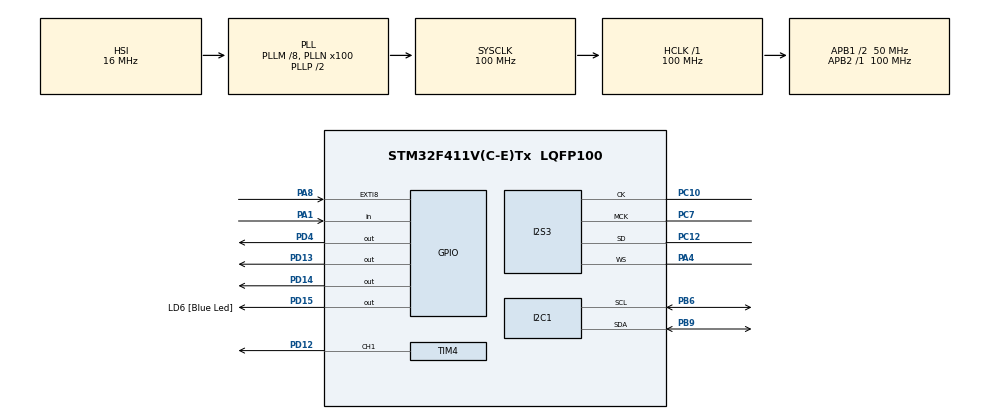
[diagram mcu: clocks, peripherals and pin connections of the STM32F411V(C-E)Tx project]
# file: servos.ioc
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I2S3.AudioFreq=I2S_AUDIOFREQ_44K
I2S3.ErrorAudioFreq=-4.88 %
I2S3.FullDuplexMode=I2S_FULLDUPLEXMODE_DISABLE
I2S3.Instance=SPI$Index
I2S3.RealAudioFreq=41.852 KHz
I2S3.Standard=I2S_STANDARD_MSB
I2S3.VirtualMode=I2S_MODE_MASTER
Mcu.Family=STM32F4
Mcu.Name=STM32F411V(C-E)Tx
Mcu.Package=LQFP100
NVIC.EXTI9_5_IRQn=true\:0\:0\:false\:false\:true\:true\:true\:true
NVIC.PriorityGroup=NVIC_PRIORITYGROUP_1
NVIC.TIM2_IRQn=true\:0\:0\:true\:false\:true\:true\:true\:true
NVIC.TIM3_IRQn=true\:0\:0\:false\:false\:true\:true\:true\:true
PA1.Signal=GPIO_Input
PA4.Mode=Half_Duplex_Master
PA4.Signal=I2S3_WS
PA8.GPIO_PuPd=GPIO_PULLDOWN
PA8.Signal=GPXTI8
PB6.Mode=I2C
PB6.Signal=I2C1_SCL
PB9.Mode=I2C
PB9.Signal=I2C1_SDA
PC10.Mode=Half_Duplex_Master
PC10.Signal=I2S3_CK
PC12.Mode=Half_Duplex_Master
PC12.Signal=I2S3_SD
PC14-OSC32_IN.GPIO_Label=PC14-OSC32_IN
PC14-OSC32_IN.Signal=RCC_OSC32_IN
PC15-OSC32_OUT.GPIO_Label=PC15-OSC32_OUT
PC15-OSC32_OUT.Signal=RCC_OSC32_OUT
PC7.Mode=Master_Clock_Activated
PC7.Signal=I2S3_MCK
PD12.Signal=S_TIM4_CH1
PD13.Signal=GPIO_Output
PD14.Signal=GPIO_Output
PD15.GPIO_Label=LD6 [Blue Led]
PD15.GPIO_PuPd=GPIO_NOPULL
PD15.GPIO_Speed=GPIO_SPEED_FREQ_LOW
PD15.Signal=GPIO_Output
PD4.Signal=GPIO_Output
PH0\ -\ OSC_IN.GPIO_Label=PH0-OSC_IN
PH0\ -\ OSC_IN.Mode=HSE-External-Oscillator
PH0\ -\ OSC_IN.Signal=RCC_OSC_IN
PH1\ -\ OSC_OUT.GPIO_Label=PH1-OSC_OUT
PH1\ -\ OSC_OUT.Mode=HSE-External-Oscillator
PH1\ -\ OSC_OUT.Signal=RCC_OSC_OUT
ProjectManager.HeapSize=0x200
ProjectManager.StackSize=0x400
ProjectManager.TargetToolchain=STM32CubeIDE
RCC.48MHZClocksFreq_Value=25000000
RCC.AHBFreq_Value=100000000
RCC.APB1CLKDivider=RCC_HCLK_DIV2
RCC.APB1Freq_Value=50000000
RCC.APB1TimFreq_Value=100000000
RCC.APB2Freq_Value=100000000
RCC.APB2TimFreq_Value=100000000
RCC.CortexFreq_Value=100000000
RCC.HCLKFreq_Value=100000000
RCC.HSE_VALUE=8000000
RCC.HSI_VALUE=16000000
RCC.LSE_VALUE=32768
RCC.PLLI2SM=8
RCC.PLLI2SN=75
RCC.PLLM=8
RCC.PLLN=100
RCC.PLLQ=8
RCC.SYSCLKFreq_VALUE=100000000
RCC.SYSCLKSource=RCC_SYSCLKSOURCE_PLLCLK
RCC.VCOOutputFreq_Value=200000000
SH.S_TIM4_CH1.0=TIM4_CH1,PWM Generation1 CH1
TIM2.Period=30000
TIM2.Prescaler=50000
TIM3.Period=2000
TIM3.Prescaler=32000
TIM4.Channel-PWM\ Generation1\ CH1=TIM_CHANNEL_1
TIM4.Period=2000
TIM4.Prescaler=160
VP_TIM2_VS_ClockSourceINT.Mode=Internal
VP_TIM3_VS_ClockSourceINT.Mode=Internal
VP_TIM4_VS_ClockSourceINT.Mode=Internal
board=STM32F411E-DISCO

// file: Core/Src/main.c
/* USER CODE BEGIN Header */
/**
  ******************************************************************************
  * @file           : main.c
  * @brief          : Main program body
  ******************************************************************************
  * @attention
  *
  * Copyright (c) 2022 STMicroelectronics.
  * All rights reserved.
  *
  * This software is licensed under terms that can be found in the LICENSE file
  * in the root directory of this software component.
  * If no LICENSE file comes with this software, it is provided AS-IS.
  *
  ******************************************************************************
  */
/* USER CODE END Header */
#include "main.h"

I2C_HandleTypeDef hi2c1;

I2S_HandleTypeDef hi2s3;

TIM_HandleTypeDef htim2;
TIM_HandleTypeDef htim3;  //Manejadores de temporizadores
TIM_HandleTypeDef htim4;

void SystemClock_Config(void);
static void MX_GPIO_Init(void);
static void MX_TIM2_Init(void);
static void MX_TIM4_Init(void); //Funciones para inicializar los temporizadores y el I2C
static void MX_TIM3_Init(void);
static void MX_I2C1_Init(void);
static void MX_I2S3_Init(void);

/* USER CODE BEGIN 0 */
int i;
uint8_t b = 0;                   //se inicailizan variables
volatile int16_t señal=0;
volatile int16_t señal2=0;

void HAL_GPIO_EXTI_Callback(uint16_t GPIO_Pin){ //detectamos presencia
	if (GPIO_Pin==GPIO_PIN_8)
	{
		señal=0;
		 HAL_GPIO_WritePin(GPIOD,GPIO_PIN_14,0);
		HAL_GPIO_WritePin(GPIOD,GPIO_PIN_15,1);
		__HAL_TIM_CLEAR_IT(&htim2, TIM_IT_UPDATE); //dio fallos la interrucpcion del TEMP2 por lo que se limpia
		 HAL_TIM_Base_Start_IT(&htim2);// se inicializa la interrupcion del TEMP2
	}

}

void HAL_TIM_PeriodElapsedCallback(TIM_HandleTypeDef *htim)//acaba el temporizador
{
  /* Prevent unused argument(s) compilation warning */
  //UNUSED(htim);
  /* NOTE : This function Should not be modified, when the callback is needed,
            the __HAL_TIM_PeriodElapsedCallback could be implemented in the user file
   */
  if(htim->Instance==TIM2)//Interrupcion del temporizador 2
  {
	  HAL_GPIO_WritePin(GPIOD,GPIO_PIN_14,1);
	 	HAL_GPIO_WritePin(GPIOD,GPIO_PIN_15,0);
	 	HAL_TIM_Base_Stop_IT(&htim2);
	 	 HAL_TIM_Base_Start_IT(&htim3);// se inicializa la interrupcion del TEMP3
	 	señal=1;
	 	HAL_TIM_Base_Stop(&htim2);// se detiene la interrupcion del TEMP2

  }
  if(htim->Instance==TIM3)//Interrupcion del temporizador 3
    {
	  HAL_GPIO_WritePin(GPIOD,GPIO_PIN_15,1);
  	 	HAL_TIM_Base_Stop_IT(&htim3);// se detiene la interrupcion del TEMP3
  	 	señal=0;

    }
}
/* USER CODE END 0 */

int main(void)
{
  /* USER CODE BEGIN 1 */
	uint8_t setup[2];
	uint8_t pitido[2];//los cuatro primeros son la frecuencia y los cuatro siguentes es el tiempo de duración
	uint16_t out[1];

  /* USER CODE END 1 */

  /* MCU Configuration--------------------------------------------------------*/

  /* Reset of all peripherals, Initializes the Flash interface and the Systick. */
  HAL_Init();

  /* Configure the system clock */
  SystemClock_Config();

  /* Initialize all configured peripherals */
  MX_GPIO_Init();
  MX_TIM2_Init();
  MX_TIM4_Init();
  MX_TIM3_Init();   //Se inicializan los temporizadores y el I2C
  MX_I2C1_Init();
  MX_I2S3_Init();
  /* USER CODE BEGIN 2 */

  HAL_GPIO_WritePin(GPIOD, GPIO_PIN_4, GPIO_PIN_RESET);
    HAL_GPIO_WritePin(GPIOD, GPIO_PIN_4, GPIO_PIN_SET);

    //Write 0x99 to register 0x00.
    setup[0]=0x00;
    setup[1]=0x99;
    HAL_I2C_Master_Transmit(&hi2c1,0x94,setup,2,100);
    //Write 0x80 to register 0x47.
    setup[0] = 0x47;
    setup[1] = 0x80;
    HAL_I2C_Master_Transmit(&hi2c1, 0x94, setup, 2, 100);
    //Write ‘1’b to bit 7 in register 0x32.
    setup[0] = 0x32;
    setup[1] = 0x80;
    HAL_I2C_Master_Transmit(&hi2c1, 0x94, setup, 2, 100);
    //Write ‘0’b to bit 7 in register 0x32.
    setup[0] = 0x32;
    setup[1] = 0x00;
    HAL_I2C_Master_Transmit(&hi2c1, 0x94, setup, 2, 100);
    //Write 0x00 to register 0x00.
    setup[0]=0x00;
    setup[1]=0x00;
    HAL_I2C_Master_Transmit(&hi2c1, 0x94, setup, 2, 100);
    // activar el power
    setup[0] = 0x02;
    setup[1] = 0x9E;
    HAL_I2C_Master_Transmit(&hi2c1, 0x94, setup, 2, 100);
    pitido[0] = 0x1C;
    pitido[1] = 0x2F;
    HAL_I2C_Master_Transmit(&hi2c1, 0x94, pitido, 2, 100);
    //Beep & Tone config
    setup[0] = 0x1E;
    setup[1] = 0xE0;
    HAL_I2C_Master_Transmit(&hi2c1, 0x94, setup, 2, 100);
    //configuracion volumnen
     setup[0] = 0x1d;
    setup[1] = 0x06;
    HAL_I2C_Master_Transmit(&hi2c1, 0x94, setup, 2, 100);

  	out[0] = 100;

  	HAL_TIM_PWM_Start(&htim4, TIM_CHANNEL_1);

 //HAL_TIM_Base_Start_IT(&htim2);
  /* USER CODE END 2 */

  /* Infinite loop */
  while (1)
  {

    /* USER CODE BEGIN 3 */
	  if(HAL_GPIO_ReadPin(GPIOA, GPIO_PIN_1)==1)//nos llega la señal de detener alarma
	  {
		  HAL_TIM_Base_Stop_IT(&htim2);
	  }

	  if(señal==0)
	  	 {
		  __HAL_TIM_SET_COMPARE(&htim4, TIM_CHANNEL_1, 2000);//podemos mover la ventana como queramos con la mano
	  	 }
	  else if(señal==1)//se acaba el tiempo de la alarma
	  	  {

			  HAL_TIM_PWM_Start(&htim4, TIM_CHANNEL_1);//tiempo para cerrar la ventana
			  __HAL_TIM_SET_COMPARE(&htim4, TIM_CHANNEL_1, 116); //cerramos ventana
			  señal2=1;

	  	  }
	  if (señal2){
		  for (i=0;i<1;i++) { HAL_I2S_Transmit (&hi2s3, out ,1, 10 );}
	  }

  }
  /* USER CODE END 3 */
}

void SystemClock_Config(void)
{
  RCC_OscInitTypeDef RCC_OscInitStruct = {0};
  RCC_ClkInitTypeDef RCC_ClkInitStruct = {0};

  /** Configure the main internal regulator output voltage
  */
  __HAL_RCC_PWR_CLK_ENABLE();
  __HAL_PWR_VOLTAGESCALING_CONFIG(PWR_REGULATOR_VOLTAGE_SCALE1);

  /** Initializes the RCC Oscillators according to the specified parameters
  * in the RCC_OscInitTypeDef structure.
  */
  RCC_OscInitStruct.OscillatorType = RCC_OSCILLATORTYPE_HSI;
  RCC_OscInitStruct.HSIState = RCC_HSI_ON;
  RCC_OscInitStruct.HSICalibrationValue = RCC_HSICALIBRATION_DEFAULT;
  RCC_OscInitStruct.PLL.PLLState = RCC_PLL_ON;
  RCC_OscInitStruct.PLL.PLLSource = RCC_PLLSOURCE_HSI;
  RCC_OscInitStruct.PLL.PLLM = 8;
  RCC_OscInitStruct.PLL.PLLN = 100;
  RCC_OscInitStruct.PLL.PLLP = RCC_PLLP_DIV2;
  RCC_OscInitStruct.PLL.PLLQ = 8;
  if (HAL_RCC_OscConfig(&RCC_OscInitStruct) != HAL_OK)
  {
    Error_Handler();
  }

  /** Initializes the CPU, AHB and APB buses clocks
  */
  RCC_ClkInitStruct.ClockType = RCC_CLOCKTYPE_HCLK|RCC_CLOCKTYPE_SYSCLK
                              |RCC_CLOCKTYPE_PCLK1|RCC_CLOCKTYPE_PCLK2;
  RCC_ClkInitStruct.SYSCLKSource = RCC_SYSCLKSOURCE_PLLCLK;
  RCC_ClkInitStruct.AHBCLKDivider = RCC_SYSCLK_DIV1;
  RCC_ClkInitStruct.APB1CLKDivider = RCC_HCLK_DIV2;
  RCC_ClkInitStruct.APB2CLKDivider = RCC_HCLK_DIV1;

  if (HAL_RCC_ClockConfig(&RCC_ClkInitStruct, FLASH_LATENCY_3) != HAL_OK)
  {
    Error_Handler();
  }
}

static void MX_I2C1_Init(void)
{

  hi2c1.Instance = I2C1;
  hi2c1.Init.ClockSpeed = 100000;
  hi2c1.Init.DutyCycle = I2C_DUTYCYCLE_2;
  hi2c1.Init.OwnAddress1 = 0;
  hi2c1.Init.AddressingMode = I2C_ADDRESSINGMODE_7BIT;
  hi2c1.Init.DualAddressMode = I2C_DUALADDRESS_DISABLE;
  hi2c1.Init.OwnAddress2 = 0;
  hi2c1.Init.GeneralCallMode = I2C_GENERALCALL_DISABLE;
  hi2c1.Init.NoStretchMode = I2C_NOSTRETCH_DISABLE;
  if (HAL_I2C_Init(&hi2c1) != HAL_OK)
  {
    Error_Handler();
  }

}

static void MX_I2S3_Init(void)
{

  hi2s3.Instance = SPI3;
  hi2s3.Init.Mode = I2S_MODE_MASTER_TX;
  hi2s3.Init.Standard = I2S_STANDARD_MSB;
  hi2s3.Init.DataFormat = I2S_DATAFORMAT_16B;
  hi2s3.Init.MCLKOutput = I2S_MCLKOUTPUT_ENABLE;
  hi2s3.Init.AudioFreq = I2S_AUDIOFREQ_44K;
  hi2s3.Init.CPOL = I2S_CPOL_LOW;
  hi2s3.Init.ClockSource = I2S_CLOCK_PLL;
  hi2s3.Init.FullDuplexMode = I2S_FULLDUPLEXMODE_DISABLE;
  if (HAL_I2S_Init(&hi2s3) != HAL_OK)
  {
    Error_Handler();
  }

}

static void MX_TIM2_Init(void)
{

  TIM_ClockConfigTypeDef sClockSourceConfig = {0};
  TIM_MasterConfigTypeDef sMasterConfig = {0};

  htim2.Instance = TIM2;
  htim2.Init.Prescaler = 50000;
  htim2.Init.CounterMode = TIM_COUNTERMODE_UP;
  htim2.Init.Period = 30000;
  htim2.Init.ClockDivision = TIM_CLOCKDIVISION_DIV1;
  htim2.Init.AutoReloadPreload = TIM_AUTORELOAD_PRELOAD_DISABLE;
  if (HAL_TIM_Base_Init(&htim2) != HAL_OK)
  {
    Error_Handler();
  }
  sClockSourceConfig.ClockSource = TIM_CLOCKSOURCE_INTERNAL;
  if (HAL_TIM_ConfigClockSource(&htim2, &sClockSourceConfig) != HAL_OK)
  {
    Error_Handler();
  }
  sMasterConfig.MasterOutputTrigger = TIM_TRGO_RESET;
  sMasterConfig.MasterSlaveMode = TIM_MASTERSLAVEMODE_DISABLE;
  if (HAL_TIMEx_MasterConfigSynchronization(&htim2, &sMasterConfig) != HAL_OK)
  {
    Error_Handler();
  }

}

static void MX_TIM3_Init(void)
{

  TIM_ClockConfigTypeDef sClockSourceConfig = {0};
  TIM_MasterConfigTypeDef sMasterConfig = {0};

  htim3.Instance = TIM3;
  htim3.Init.Prescaler = 32000;
  htim3.Init.CounterMode = TIM_COUNTERMODE_UP;
  htim3.Init.Period = 2000;
  htim3.Init.ClockDivision = TIM_CLOCKDIVISION_DIV1;
  htim3.Init.AutoReloadPreload = TIM_AUTORELOAD_PRELOAD_DISABLE;
  if (HAL_TIM_Base_Init(&htim3) != HAL_OK)
  {
    Error_Handler();
  }
  sClockSourceConfig.ClockSource = TIM_CLOCKSOURCE_INTERNAL;
  if (HAL_TIM_ConfigClockSource(&htim3, &sClockSourceConfig) != HAL_OK)
  {
    Error_Handler();
  }
  sMasterConfig.MasterOutputTrigger = TIM_TRGO_RESET;
  sMasterConfig.MasterSlaveMode = TIM_MASTERSLAVEMODE_DISABLE;
  if (HAL_TIMEx_MasterConfigSynchronization(&htim3, &sMasterConfig) != HAL_OK)
  {
    Error_Handler();
  }

}

static void MX_TIM4_Init(void)
{

  TIM_ClockConfigTypeDef sClockSourceConfig = {0};
  TIM_MasterConfigTypeDef sMasterConfig = {0};
  TIM_OC_InitTypeDef sConfigOC = {0};

  htim4.Instance = TIM4;
  htim4.Init.Prescaler = 160;
  htim4.Init.CounterMode = TIM_COUNTERMODE_UP;
  htim4.Init.Period = 2000;
  htim4.Init.ClockDivision = TIM_CLOCKDIVISION_DIV1;
  htim4.Init.AutoReloadPreload = TIM_AUTORELOAD_PRELOAD_DISABLE;
  if (HAL_TIM_Base_Init(&htim4) != HAL_OK)
  {
    Error_Handler();
  }
  sClockSourceConfig.ClockSource = TIM_CLOCKSOURCE_INTERNAL;
  if (HAL_TIM_ConfigClockSource(&htim4, &sClockSourceConfig) != HAL_OK)
  {
    Error_Handler();
  }
  if (HAL_TIM_PWM_Init(&htim4) != HAL_OK)
  {
    Error_Handler();
  }
  sMasterConfig.MasterOutputTrigger = TIM_TRGO_RESET;
  sMasterConfig.MasterSlaveMode = TIM_MASTERSLAVEMODE_DISABLE;
  if (HAL_TIMEx_MasterConfigSynchronization(&htim4, &sMasterConfig) != HAL_OK)
  {
    Error_Handler();
  }
  sConfigOC.OCMode = TIM_OCMODE_PWM1;
  sConfigOC.Pulse = 0;
  sConfigOC.OCPolarity = TIM_OCPOLARITY_HIGH;
  sConfigOC.OCFastMode = TIM_OCFAST_DISABLE;
  if (HAL_TIM_PWM_ConfigChannel(&htim4, &sConfigOC, TIM_CHANNEL_1) != HAL_OK)
  {
    Error_Handler();
  }
  HAL_TIM_MspPostInit(&htim4);

}

static void MX_GPIO_Init(void)
{
  GPIO_InitTypeDef GPIO_InitStruct = {0};

  /* GPIO Ports Clock Enable */
  __HAL_RCC_GPIOC_CLK_ENABLE();
  __HAL_RCC_GPIOH_CLK_ENABLE();
  __HAL_RCC_GPIOA_CLK_ENABLE();
  __HAL_RCC_GPIOD_CLK_ENABLE();
  __HAL_RCC_GPIOB_CLK_ENABLE();

  /*Configure GPIO pin Output Level */
  HAL_GPIO_WritePin(GPIOD, GPIO_PIN_13|GPIO_PIN_14|LD6_Pin|GPIO_PIN_4, GPIO_PIN_RESET);

  /*Configure GPIO pin : PA1 */
  GPIO_InitStruct.Pin = GPIO_PIN_1;
  GPIO_InitStruct.Mode = GPIO_MODE_INPUT;
  GPIO_InitStruct.Pull = GPIO_NOPULL;
  HAL_GPIO_Init(GPIOA, &GPIO_InitStruct);

  /*Configure GPIO pins : PD13 PD14 LD6_Pin PD4 */
  GPIO_InitStruct.Pin = GPIO_PIN_13|GPIO_PIN_14|LD6_Pin|GPIO_PIN_4;
  GPIO_InitStruct.Mode = GPIO_MODE_OUTPUT_PP;
  GPIO_InitStruct.Pull = GPIO_NOPULL;
  GPIO_InitStruct.Speed = GPIO_SPEED_FREQ_LOW;
  HAL_GPIO_Init(GPIOD, &GPIO_InitStruct);

  /*Configure GPIO pin : PA8 */
  GPIO_InitStruct.Pin = GPIO_PIN_8;
  GPIO_InitStruct.Mode = GPIO_MODE_IT_RISING;
  GPIO_InitStruct.Pull = GPIO_PULLDOWN;
  HAL_GPIO_Init(GPIOA, &GPIO_InitStruct);

  /* EXTI interrupt init*/
  HAL_NVIC_SetPriority(EXTI9_5_IRQn, 0, 0);
  HAL_NVIC_EnableIRQ(EXTI9_5_IRQn);

}

void Error_Handler(void)
{
  __disable_irq();
  while (1)
  {
  }
}
